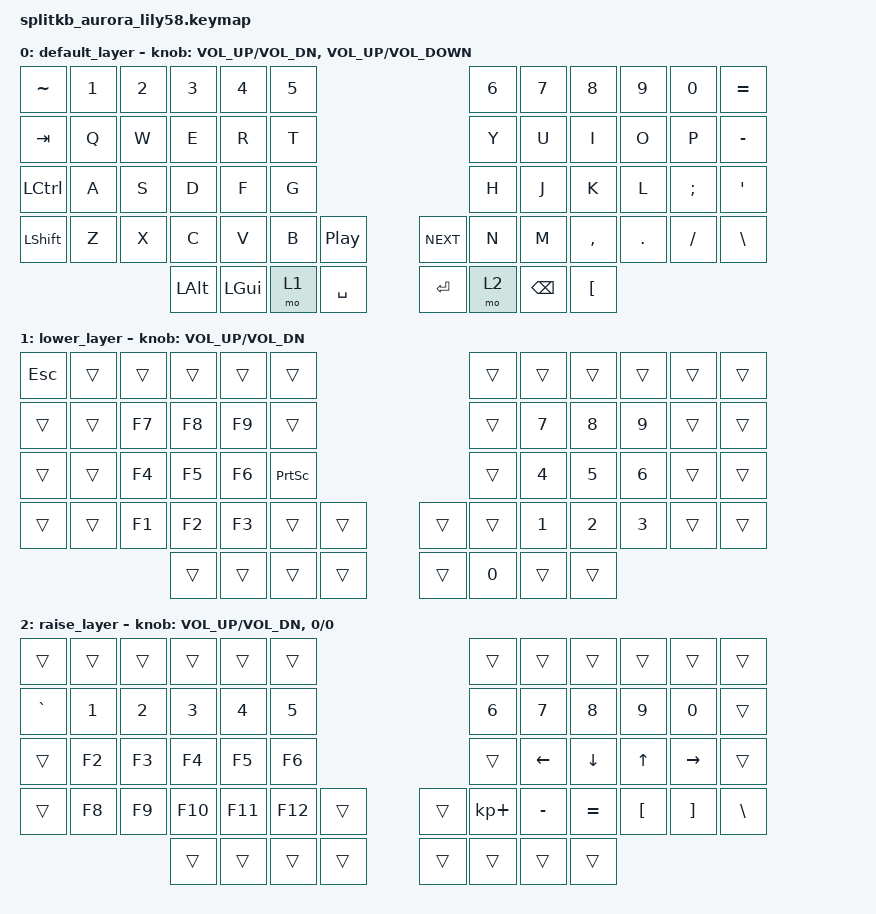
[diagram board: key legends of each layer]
/*
 * Copyright (c) 2022 The ZMK Contributors
 *
 * SPDX-License-Identifier: MIT
 */

#include <behaviors.dtsi>
#include <dt-bindings/zmk/keys.h>

/ {
    keymap {
        compatible = "zmk,keymap";

        default_layer {
            // ------------------------------------------------------------------------------------------------------------
            // |  ESC  |  1  |  2  |  3   |  4   |  5   |                   |  6   |  7    |  8    |  9   |   0   |   `   |
            // |  TAB  |  Q  |  W  |  E   |  R   |  T   |                   |  Y   |  U    |  I    |  O   |   P   |   -   |
            // |  CTRL |  A  |  S  |  D   |  F   |  G   |                   |  H   |  J    |  K    |  L   |   ;   |   '   |
            // | SHIFT |  Z  |  X  |  C   |  V   |  B   |   "["  |  |  "]"  |  N   |  M    |  ,    |  .   |   /   | SHIFT |
            //                     | ALT  | GUI  | LOWER|  SPACE |  | ENTER | RAISE| BSPC  | GUI   |

            bindings = <
&kp TILDE  &kp N1  &kp N2  &kp N3    &kp N4    &kp N5                                  &kp N6  &kp N7    &kp N8            &kp N9   &kp N0    &kp EQUAL
&kp TAB    &kp Q   &kp W   &kp E     &kp R     &kp T                                   &kp Y   &kp U     &kp I             &kp O    &kp P     &kp MINUS
&kp LCTRL  &kp A   &kp S   &kp D     &kp F     &kp G                                   &kp H   &kp J     &kp K             &kp L    &kp SEMI  &kp SQT
&kp LSHFT  &kp Z   &kp X   &kp C     &kp V     &kp B   &kp C_PLAY_PAUSE    &kp C_NEXT  &kp N   &kp M     &kp COMMA         &kp DOT  &kp FSLH  &kp BACKSLASH
                           &kp LALT  &kp LGUI  &mo 1   &kp SPACE           &kp RET     &mo 2   &kp BSPC  &kp LEFT_BRACKET
            >;

            sensor-bindings =
                <&inc_dec_kp C_VOL_UP C_VOL_DN>,
                <&inc_dec_kp C_VOLUME_UP C_VOLUME_DOWN>;
        };

        lower_layer {
            // ------------------------------------------------------------------------------------------------------------
            // | BTCLR | BT1 | BT2 |  BT3 |  BT4 |  BT5 |                   |      |       |       |      |       |       |
            // |  F1   |  F2 |  F3 |  F4  |  F5  |  F6  |                   |  F7  |  F8   |  F9   |  F10 |  F11  |  F12  |
            // |   `   |  !  |  @  |  #   |  $   |  %   |                   |  ^   |  &    |  *    |  (   |   )   |   ~   |
            // |       |     |     |      |      |      |        |  |       |      |  _    |  +    |  {   |   }   |  "|"  |
            //                     |      |      |      |        |  |       |      |       |       |

            bindings = <
&kp ESCAPE  &trans  &trans  &trans  &trans  &trans                             &trans        &trans        &trans        &trans        &trans  &trans
&trans      &trans  &kp F7  &kp F8  &kp F9  &trans                             &trans        &kp N7        &kp N8        &kp NUMBER_9  &trans  &trans
&trans      &trans  &kp F4  &kp F5  &kp F6  &kp PRINTSCREEN                    &trans        &kp NUMBER_4  &kp NUMBER_5  &kp NUMBER_6  &trans  &trans
&trans      &trans  &kp F1  &kp F2  &kp F3  &trans           &trans    &trans  &trans        &kp NUMBER_1  &kp NUMBER_2  &kp NUMBER_3  &trans  &trans
                            &trans  &trans  &trans           &trans    &trans  &kp NUMBER_0  &trans        &trans
            >;

            sensor-bindings = <&inc_dec_kp C_VOL_UP C_VOL_DN>;
        };

        raise_layer {
            // ------------------------------------------------------------------------------------------------------------
            // |       |     |     |      |      |      |                   |      |       |       |      |       |       |
            // |   `   |  1  |  2  |  3   |  4   |  5   |                   |  6   |   7   |   8   |  9   |   0   |       |
            // |   F1  |  F2 |  F3 |  F4  |  F5  |  F6  |                   |      |   <-  |   v   |  ^   |  ->   |       |
            // |   F7  |  F8 |  F9 |  F10 |  F11 |  F12 |        |  |       |  +   |   -   |   =   |  [   |   ]   |   \   |
            //                     |      |      |      |        |  |       |      |       |       |

            bindings = <
&trans     &trans  &trans  &trans   &trans   &trans                     &trans       &trans     &trans     &trans    &trans     &trans
&kp GRAVE  &kp N1  &kp N2  &kp N3   &kp N4   &kp N5                     &kp N6       &kp N7     &kp N8     &kp N9    &kp N0     &trans
&trans     &kp F2  &kp F3  &kp F4   &kp F5   &kp F6                     &trans       &kp LEFT   &kp DOWN   &kp UP    &kp RIGHT  &trans
&trans     &kp F8  &kp F9  &kp F10  &kp F11  &kp F12  &trans    &trans  &kp KP_PLUS  &kp MINUS  &kp EQUAL  &kp LBKT  &kp RBKT   &kp BSLH
                           &trans   &trans   &trans   &trans    &trans  &trans       &trans     &trans
            >;

            sensor-bindings =
                <&inc_dec_kp C_VOL_UP C_VOL_DN>,
                <&inc_dec_kp 0 0>;
        };
    };
};
